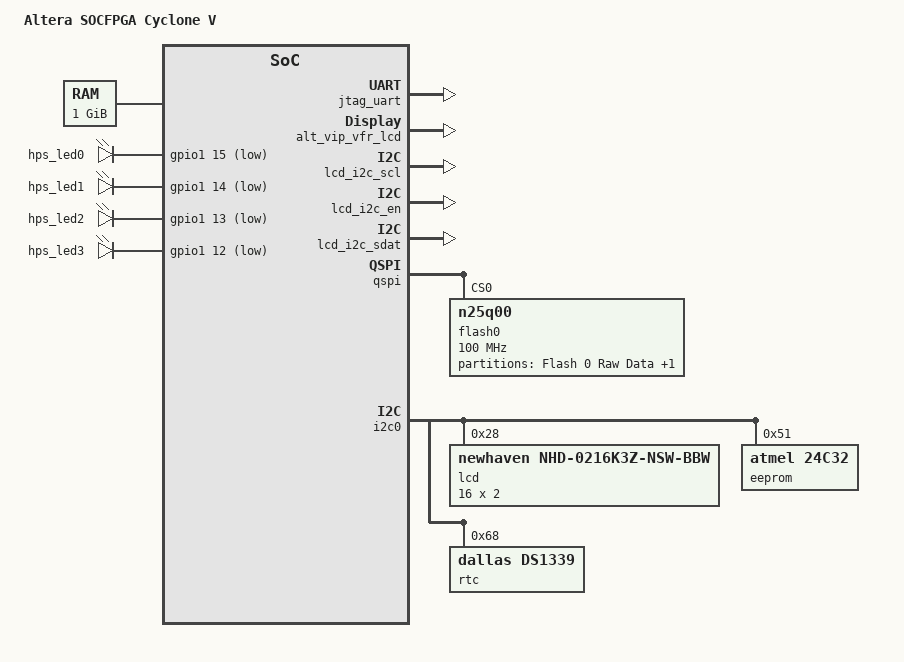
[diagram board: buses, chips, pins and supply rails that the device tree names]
/*
 *  Copyright (C) 2012 Altera Corporation <www.altera.com>
 *
 * This program is free software; you can redistribute it and/or modify
 * it under the terms of the GNU General Public License as published by
 * the Free Software Foundation; either version 2 of the License, or
 * (at your option) any later version.
 *
 * This program is distributed in the hope that it will be useful,
 * but WITHOUT ANY WARRANTY; without even the implied warranty of
 * MERCHANTABILITY or FITNESS FOR A PARTICULAR PURPOSE.  See the
 * GNU General Public License for more details.
 *
 * You should have received a copy of the GNU General Public License
 * along with this program.  If not, see <http://www.gnu.org/licenses/>.
 */

/dts-v1/;
/include/ "socfpga.dtsi"

/ {
	model = "Altera SOCFPGA Cyclone V";
	compatible = "altr,socfpga-cyclone5", "altr,socfpga";

	chosen {
		bootargs = "console=ttyS0,57600";
	};

	memory {
		name = "memory";
		device_type = "memory";
		reg = <0x0 0x40000000>; /* 1 GB */
	};

	aliases {
		/* this allow the ethaddr uboot environmnet variable contents
		 * to be added to the gmac1 device tree blob.
		 */
		ethernet0 = &gmac1;
	};

	soc {
		clkmgr@ffd04000 {
			clocks {
				osc1 {
					clock-frequency = <25000000>;
				};
			};
		};

		dcan0: d_can@ffc00000 {
			status = "disabled";
		};

		dcan1: d_can@ffc10000 {
			status = "disabled";
		};

		dwmmc0@ff704000 {
			num-slots = <1>;
			supports-highspeed;
			broken-cd;
			altr,dw-mshc-ciu-div = <4>;
			altr,dw-mshc-sdr-timing = <0 3>;

			slot@0 {
				reg = <0>;
				bus-width = <4>;
			};
		};

		hps_0_h2f_lw: bridge@0xff200000 {
			reg = < 0xFF200000 0x00200000 >;
			#address-cells = < 1 >;
			#size-cells = < 1 >;
			ranges = < 0x00010000 0xFF210000 0x00000008 
				0x00010040 0xFF210040 0x00000020 
				0x00010080 0xFF210080 0x00000010 
				0x000100C0 0xFF2100C0 0x00000010 
				0x00020000 0xFF220000 0x00000008 
				0x00040100 0xFF240100 0x00000080 
				0x00000050 0xFF200050 0x00000010 
				0x00000040 0xFF200040 0x00000010 
				0x00000030 0xFF200030 0x00000010 
				0x00060000 0xFF260000 0x00000020 
				0x00060020 0xFF260020 0x00000010 
				0x00050000 0xFF250000 0x00000008 
				0x00070000 0xFF270000 0x00000080 >;
			compatible = "simple-bus";	/* appended from boardinfo */

			sysid_qsys: sysid@0x10000 {
				compatible = "ALTR,sysid-13.0", "ALTR,sysid-1.0";
				reg = < 0x00010000 0x00000008 >;
				id = < 2899645194 >;	/* embeddedsw.dts.params.id type NUMBER */
				timestamp = < 1371165749 >;	/* embeddedsw.dts.params.timestamp type NUMBER */
			}; //end sysid@0x10000 (sysid_qsys)

			led_pio: gpio@0x10040 {
				compatible = "ALTR,pio-13.0.1.99.2", "ALTR,pio-1.0", "altr,pio-1.0";
				reg = < 0x00010040 0x00000020 >;
				width = < 4 >;	/* width type NUMBER */
				resetvalue = < 0 >;	/* resetValue type NUMBER */
				#gpio-cells = < 2 >;
				gpio-controller;
			}; //end gpio@0x10040 (led_pio)

			dipsw_pio: gpio@0x10080 {
				compatible = "ALTR,pio-13.0.1.99.2", "ALTR,pio-1.0", "altr,pio-1.0";
				reg = < 0x00010080 0x00000010 >;
				interrupt-parent = < &intc >;
				interrupts = < 0 40 1 >;
				width = < 4 >;	/* width type NUMBER */
				resetvalue = < 0 >;	/* resetValue type NUMBER */
				edge_type = < 2 >;	/* embeddedsw.dts.params.edge_type type NUMBER */
				level_trigger = < 0 >;	/* embeddedsw.dts.params.level_trigger type NUMBER */
				#gpio-cells = < 2 >;
				gpio-controller;
			}; //end gpio@0x10080 (dipsw_pio)

			button_pio: gpio@0x100c0 {
				compatible = "ALTR,pio-13.0.1.99.2", "ALTR,pio-1.0", "altr,pio-1.0";
				reg = < 0x000100C0 0x00000010 >;
				interrupt-parent = < &intc >;
				interrupts = < 0 41 1 >;
				width = < 2 >;	/* width type NUMBER */
				resetvalue = < 0 >;	/* resetValue type NUMBER */
				edge_type = < 1 >;	/* embeddedsw.dts.params.edge_type type NUMBER */
				level_trigger = < 0 >;	/* embeddedsw.dts.params.level_trigger type NUMBER */
				#gpio-cells = < 2 >;
				gpio-controller;
			}; //end gpio@0x100c0 (button_pio)

			jtag_uart: serial@0x20000 {
				compatible = "ALTR,juart-13.0.1.99.2", "ALTR,juart-1.0";
				reg = < 0x00020000 0x00000008 >;
				interrupt-parent = < &intc >;
				interrupts = < 0 42 4 >;
			}; //end serial@0x20000 (jtag_uart)

			alt_vip_vfr_lcd: vip@0x40100 {
				compatible = "ALTR,vip-frame-reader-13.0", "ALTR,vip-frame-reader-9.1";
				reg = < 0x00040100 0x00000080 >;
				max-width = < 800 >;	/* MAX_IMAGE_WIDTH type NUMBER */
				max-height = < 480 >;	/* MAX_IMAGE_HEIGHT type NUMBER */
				bits-per-color = < 8 >;	/* BITS_PER_PIXEL_PER_COLOR_PLANE type NUMBER */
				colors-per-beat = < 3 >;	/* NUMBER_OF_CHANNELS_IN_PARALLEL type NUMBER */
				beats-per-pixel = < 1 >;	/* NUMBER_OF_CHANNELS_IN_SEQUENCE type NUMBER */
				mem-word-width = < 32 >;	/* MEM_PORT_WIDTH type NUMBER */
			}; //end vip@0x40100 (alt_vip_vfr_lcd)
			
			//alt_vip_vfr_vga: vip@0x70000 {
			//	compatible = "ALTR,vip-frame-reader-13.0", "ALTR,vip-frame-reader-9.1";
			//	reg = < 0x00070000 0x00000080 >;
			//	max-width = < 800 >;	/* MAX_IMAGE_WIDTH type NUMBER */
			//	max-height = < 600 >;	/* MAX_IMAGE_HEIGHT type NUMBER */
			//	bits-per-color = < 8 >;	/* BITS_PER_PIXEL_PER_COLOR_PLANE type NUMBER */
			//	colors-per-beat = < 3 >;	/* NUMBER_OF_CHANNELS_IN_PARALLEL type NUMBER */
			//	beats-per-pixel = < 1 >;	/* NUMBER_OF_CHANNELS_IN_SEQUENCE type NUMBER */
			//	mem-word-width = < 32 >;	/* MEM_PORT_WIDTH type NUMBER */
			//	status = "disabled";	/* appended from boardinfo */
			//}; //end vip@0x70000 (alt_vip_vfr_vga)

			lcd_i2c_scl: gpio@0x50 {
				compatible = "ALTR,pio-13.0.1.99.2", "ALTR,pio-1.0", "altr,pio-1.0";
				reg = < 0x00000050 0x00000010 >;
				width = < 1 >;	/* width type NUMBER */
				resetvalue = < 0 >;	/* resetValue type NUMBER */
				#gpio-cells = < 2 >;
				gpio-controller;
			}; //end gpio@0x50 (lcd_i2c_scl)

			lcd_i2c_en: gpio@0x40 {
				compatible = "ALTR,pio-13.0.1.99.2", "ALTR,pio-1.0", "altr,pio-1.0";
				reg = < 0x00000040 0x00000010 >;
				width = < 1 >;	/* width type NUMBER */
				resetvalue = < 0 >;	/* resetValue type NUMBER */
				#gpio-cells = < 2 >;
				gpio-controller;
			}; //end gpio@0x40 (lcd_i2c_en)

			lcd_i2c_sdat: gpio@0x30 {
				compatible = "ALTR,pio-13.0.1.99.2", "ALTR,pio-1.0", "altr,pio-1.0";
				reg = < 0x00000030 0x00000010 >;
				width = < 1 >;	/* width type NUMBER */
				resetvalue = < 0 >;	/* resetValue type NUMBER */
				#gpio-cells = < 2 >;
				gpio-controller;
			}; //end gpio@0x30 (lcd_i2c_sdat)

			touch_panel_spi: spi@0x60000 {
				compatible = "ALTR,spi-13.0.1.99.2", "ALTR,spi-1.0";
				reg = < 0x00060000 0x00000020 >;
				interrupt-parent = < &intc >;
				interrupts = < 0 44 4 >;
				#address-cells = < 1 >;	/* appended from boardinfo */
				#size-cells = < 0 >;	/* appended from boardinfo */

				ts0: ts@0 {
					compatible = "ti,ads7843";	/* appended from boardinfo */
					reg = < 0 >;	/* appended from boardinfo */
					spi-max-frequency = < 31250 >;	/* appended from boardinfo */
					interrupts = < 0 >;	/* appended from boardinfo */
					interrupt-parent = < &touch_panel_pen_irq_n >;	/* appended from boardinfo */
					gpios = < &touch_panel_pen_irq_n 0 1 >;	/* appended from boardinfo */
				}; //end ts@0 (ts0)
			}; //end spi@0x60000 (touch_panel_spi)

			touch_panel_pen_irq_n: gpio@0x60020 {
				compatible = "ALTR,pio-13.0.1.99.2", "ALTR,pio-1.0", "altr,pio-1.0";
				reg = < 0x00060020 0x00000010 >;
				interrupt-parent = < &intc >;
				interrupts = < 0 45 1 >;
				width = < 1 >;	/* width type NUMBER */
				resetvalue = < 0 >;	/* resetValue type NUMBER */
				edge_type = < 1 >;	/* embeddedsw.dts.params.edge_type type NUMBER */
				level_trigger = < 0 >;	/* embeddedsw.dts.params.level_trigger type NUMBER */
				#gpio-cells = < 2 >;
				gpio-controller;
				#interrupt-cells = < 1 >;	/* appended from boardinfo */
				interrupt-controller;	/* appended from boardinfo */
			}; //end gpio@0x60020 (touch_panel_pen_irq_n)

			ps2_0: unknown@0x50000 {
				reg = < 0x00050000 0x00000008 >;
				interrupt-parent = < &intc >;
				interrupts = < 0 43 4 >;
				compatible = "ALTR,ps2-1.0";	/* appended from boardinfo */
			}; //end unknown@0x50000 (ps2_0)
		}; //end bridge@0xff200000 (hps_0_bridges_h2f_lw)

		ethernet@ff700000 {
			status = "disabled";
		};

		ethernet@ff702000 {
			phy-mode = "rgmii";
			phy-addr = <0xffffffff>; /* probe for phy addr */
		};

		i2c1: i2c@ffc05000 {
			status = "disabled";
		};

		i2c2: i2c@ffc06000 {
			status = "disabled";
		};

		i2c3: i2c@ffc07000 {
			status = "disabled";
		};

		qspi: spi@ff705000 {
				compatible = "cadence,qspi";
				#address-cells = <1>;
				#size-cells = <0>;
				reg = <0xff705000 0x1000>,
					<0xffa00000 0x1000>;
				interrupts = <0 151 4>;
				master-ref-clk = <400000000>;
				ext-decoder = <0>;  /* external decoder */
				num-chipselect = <4>;
				fifo-depth = <128>;
				bus-num = <2>;

				flash0: n25q00@0 {
					#address-cells = <1>;
					#size-cells = <1>;
					compatible = "n25q00";
					reg = <0>;	/* chip select */
					spi-max-frequency = <100000000>;
					page-size = <256>;
					block-size = <16>; /* 2^16, 64KB */
					quad = <1>;	   /* 1-support quad */
					tshsl-ns = <200>;
					tsd2d-ns = <255>;
					tchsh-ns = <20>;
					tslch-ns = <20>;

					partition@0 {
						/* 8MB for raw data. */
						label = "Flash 0 Raw Data";
						reg = <0x0 0x800000>;
					};
					partition@800000 {
						/* 8MB for jffs2 data. */
						label = "Flash 0 jffs2 Filesystem";
						reg = <0x800000 0x800000>;
					};
				};

			};

		sysmgr@ffd08000 {
			cpu1-start-addr = <0xffd080c4>;
		};

		timer0@ffc08000 {
			clock-frequency = <100000000>;
		};

		timer1@ffc09000 {
			clock-frequency = <100000000>;
		};

		timer2@ffd00000 {
			clock-frequency = <25000000>;
		};

		timer3@ffd01000 {
			clock-frequency = <25000000>;
		};

		serial0@ffc02000 {
			clock-frequency = <100000000>;
		};

		serial1@ffc03000 {
			clock-frequency = <100000000>;
		};

		usb0: usb@ffb00000 {
			status = "disabled";
		};

		usb1: usb@ffb40000 {
			ulpi-ddr = <0>;
		};

		i2c0: i2c@ffc04000 {
			speed-mode = <0>;
		};

		leds {
			compatible = "gpio-leds";
			hps0 {
				label = "hps_led0";
				gpios = <&gpio1 15 1>;
			};

			hps1 {
				label = "hps_led1";
				gpios = <&gpio1 14 1>;
			};

			hps2 {
				label = "hps_led2";
				gpios = <&gpio1 13 1>;
			};

			hps3 {
				label = "hps_led3";
				gpios = <&gpio1 12 1>;
			};
		};
	};
};

&i2c0 {
	lcd: lcd@28 {
		compatible = "newhaven,nhd-0216k3z-nsw-bbw";
		reg = <0x28>;
		height = <2>;
		width = <16>;
		brightness = <8>;
	};

	eeprom@51 {
		compatible = "atmel,24c32";
		reg = <0x51>;
		pagesize = <32>;
	};

	rtc@68 {
		compatible = "dallas,ds1339";
		reg = <0x68>;
	};
};
